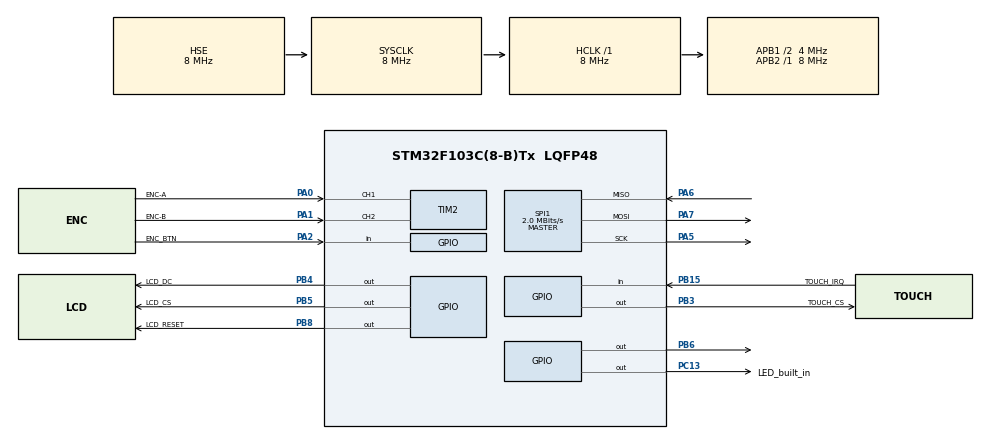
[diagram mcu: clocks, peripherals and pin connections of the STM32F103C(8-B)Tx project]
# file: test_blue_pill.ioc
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Mcu.Family=STM32F1
Mcu.Name=STM32F103C(8-B)Tx
Mcu.Package=LQFP48
NVIC.PriorityGroup=NVIC_PRIORITYGROUP_4
PA0-WKUP.GPIO_Label=ENC-A
PA0-WKUP.GPIO_PuPd=GPIO_PULLUP
PA0-WKUP.Signal=S_TIM2_CH1_ETR
PA1.GPIO_Label=ENC-B
PA1.GPIO_PuPd=GPIO_PULLUP
PA1.Signal=S_TIM2_CH2
PA2.GPIO_Label=ENC_BTN
PA2.GPIO_PuPd=GPIO_PULLUP
PA2.Signal=GPIO_Input
PA5.Mode=Full_Duplex_Master
PA5.Signal=SPI1_SCK
PA6.Mode=Full_Duplex_Master
PA6.Signal=SPI1_MISO
PA7.Mode=Full_Duplex_Master
PA7.Signal=SPI1_MOSI
PB15.GPIO_Label=TOUCH_IRQ
PB15.Signal=GPIO_Input
PB3.GPIO_Label=TOUCH_CS
PB3.Signal=GPIO_Output
PB4.GPIO_Label=LCD_DC
PB4.Signal=GPIO_Output
PB5.GPIO_Label=LCD_CS
PB5.Signal=GPIO_Output
PB6.Signal=GPIO_Output
PB8.GPIO_Label=LCD_RESET
PB8.Signal=GPIO_Output
PC13-TAMPER-RTC.GPIO_Label=LED_built_in
PC13-TAMPER-RTC.Signal=GPIO_Output
PD0-OSC_IN.Mode=HSE-External-Oscillator
PD0-OSC_IN.Signal=RCC_OSC_IN
PD1-OSC_OUT.Mode=HSE-External-Oscillator
PD1-OSC_OUT.Signal=RCC_OSC_OUT
ProjectManager.HeapSize=0x200
ProjectManager.StackSize=0x400
ProjectManager.TargetToolchain=STM32CubeIDE
RCC.AHBFreq_Value=8000000
RCC.APB1CLKDivider=RCC_HCLK_DIV2
RCC.APB1Freq_Value=4000000
RCC.APB1TimFreq_Value=8000000
RCC.APB2Freq_Value=8000000
RCC.APB2TimFreq_Value=8000000
RCC.HCLKFreq_Value=8000000
RCC.HSEDivPLL=RCC_HSE_PREDIV_DIV2
RCC.PLLMUL=RCC_PLL_MUL9
RCC.PLLSourceVirtual=RCC_PLLSOURCE_HSE
RCC.SYSCLKFreq_VALUE=8000000
RCC.SYSCLKSource=RCC_SYSCLKSOURCE_HSE
RCC.USBFreq_Value=36000000
SH.S_TIM2_CH1_ETR.0=TIM2_CH1,Encoder_Interface
SH.S_TIM2_CH2.0=TIM2_CH2,Encoder_Interface
SPI1.BaudRatePrescaler=SPI_BAUDRATEPRESCALER_4
SPI1.CLKPolarity=SPI_POLARITY_LOW
SPI1.CalculateBaudRate=2.0 MBits/s
SPI1.Direction=SPI_DIRECTION_2LINES
SPI1.FirstBit=SPI_FIRSTBIT_MSB
SPI1.Mode=SPI_MODE_MASTER
SPI1.VirtualType=VM_MASTER
TIM2.EncoderMode=TIM_ENCODERMODE_TI12
TIM2.IC1Filter=10
TIM2.IC1Polarity=TIM_ICPOLARITY_FALLING
TIM2.IC1Prescaler=TIM_ICPSC_DIV1
TIM2.IC2Filter=10
TIM2.IC2Polarity=TIM_ICPOLARITY_FALLING
TIM2.IC2Prescaler=TIM_ICPSC_DIV1
board=custom

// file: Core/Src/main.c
/* USER CODE BEGIN Header */
/**
  ******************************************************************************
  * @file           : main.c
  * @brief          : Main program body
  ******************************************************************************
  * @attention
  *
  * Copyright (c) 2024 STMicroelectronics.
  * All rights reserved.
  *
  * This software is licensed under terms that can be found in the LICENSE file
  * in the root directory of this software component.
  * If no LICENSE file comes with this software, it is provided AS-IS.
  *
  ******************************************************************************
  */
/* USER CODE END Header */
#include "main.h"

/* USER CODE BEGIN Includes */
#include "ili9341_touch.h"
#include "ili9341.h"

/* USER CODE END Includes */

/* USER CODE BEGIN PD */
#define BUILTIN_LED_PIN GPIO_PIN_13
#define BUILTIN_LED_PIN_PORT GPIOC
#define LCD_LED_PIN GPIO_PIN_6
#define LCD_LED_PIN_PORT GPIOB

/* USER CODE END PD */

SPI_HandleTypeDef hspi1;

TIM_HandleTypeDef htim2;

void SystemClock_Config(void);
static void MX_GPIO_Init(void);
static void MX_TIM2_Init(void);
static void MX_SPI1_Init(void);

/* USER CODE BEGIN 0 */
void loop() {

	ILI9341_TouchUnselect();
	HAL_GPIO_WritePin(ILI9341_CS_GPIO_Port, ILI9341_CS_Pin, GPIO_PIN_RESET);
	ILI9341_Init();
	HAL_GPIO_TogglePin(BUILTIN_LED_PIN_PORT, BUILTIN_LED_PIN);
	HAL_GPIO_TogglePin(LCD_LED_PIN_PORT, LCD_LED_PIN);
	ILI9341_FillRectangle(5, 5, 50, 50, ILI9341_GREEN);
	ILI9341_FillScreen(ILI9341_RED);
	HAL_Delay(100);

}

/* USER CODE END 0 */

int main(void)
{

  /* MCU Configuration--------------------------------------------------------*/

  /* Reset of all peripherals, Initializes the Flash interface and the Systick. */
  HAL_Init();

  /* USER CODE BEGIN Init */
  ILI9341_Init();

  /* USER CODE END Init */

  /* Configure the system clock */
  SystemClock_Config();

  /* Initialize all configured peripherals */
  MX_GPIO_Init();
  MX_TIM2_Init();
  MX_SPI1_Init();

  /* Infinite loop */
  /* USER CODE BEGIN WHILE */
  while (1)
  {
	  loop();
    /* USER CODE END WHILE */

  }
}

void SystemClock_Config(void)
{
  RCC_OscInitTypeDef RCC_OscInitStruct = {0};
  RCC_ClkInitTypeDef RCC_ClkInitStruct = {0};

  /** Initializes the RCC Oscillators according to the specified parameters
  * in the RCC_OscInitTypeDef structure.
  */
  RCC_OscInitStruct.OscillatorType = RCC_OSCILLATORTYPE_HSE;
  RCC_OscInitStruct.HSEState = RCC_HSE_ON;
  RCC_OscInitStruct.PLL.PLLState = RCC_PLL_NONE;
  if (HAL_RCC_OscConfig(&RCC_OscInitStruct) != HAL_OK)
  {
    Error_Handler();
  }

  /** Initializes the CPU, AHB and APB buses clocks
  */
  RCC_ClkInitStruct.ClockType = RCC_CLOCKTYPE_HCLK|RCC_CLOCKTYPE_SYSCLK
                              |RCC_CLOCKTYPE_PCLK1|RCC_CLOCKTYPE_PCLK2;
  RCC_ClkInitStruct.SYSCLKSource = RCC_SYSCLKSOURCE_HSE;
  RCC_ClkInitStruct.AHBCLKDivider = RCC_SYSCLK_DIV1;
  RCC_ClkInitStruct.APB1CLKDivider = RCC_HCLK_DIV2;
  RCC_ClkInitStruct.APB2CLKDivider = RCC_HCLK_DIV1;

  if (HAL_RCC_ClockConfig(&RCC_ClkInitStruct, FLASH_LATENCY_0) != HAL_OK)
  {
    Error_Handler();
  }
}

static void MX_SPI1_Init(void)
{

  /* SPI1 parameter configuration*/
  hspi1.Instance = SPI1;
  hspi1.Init.Mode = SPI_MODE_MASTER;
  hspi1.Init.Direction = SPI_DIRECTION_2LINES;
  hspi1.Init.DataSize = SPI_DATASIZE_8BIT;
  hspi1.Init.CLKPolarity = SPI_POLARITY_LOW;
  hspi1.Init.CLKPhase = SPI_PHASE_1EDGE;
  hspi1.Init.NSS = SPI_NSS_SOFT;
  hspi1.Init.BaudRatePrescaler = SPI_BAUDRATEPRESCALER_4;
  hspi1.Init.FirstBit = SPI_FIRSTBIT_MSB;
  hspi1.Init.TIMode = SPI_TIMODE_DISABLE;
  hspi1.Init.CRCCalculation = SPI_CRCCALCULATION_DISABLE;
  hspi1.Init.CRCPolynomial = 10;
  if (HAL_SPI_Init(&hspi1) != HAL_OK)
  {
    Error_Handler();
  }

}

static void MX_TIM2_Init(void)
{

  TIM_Encoder_InitTypeDef sConfig = {0};
  TIM_MasterConfigTypeDef sMasterConfig = {0};

  htim2.Instance = TIM2;
  htim2.Init.Prescaler = 0;
  htim2.Init.CounterMode = TIM_COUNTERMODE_UP;
  htim2.Init.Period = 65535;
  htim2.Init.ClockDivision = TIM_CLOCKDIVISION_DIV1;
  htim2.Init.AutoReloadPreload = TIM_AUTORELOAD_PRELOAD_DISABLE;
  sConfig.EncoderMode = TIM_ENCODERMODE_TI12;
  sConfig.IC1Polarity = TIM_ICPOLARITY_FALLING;
  sConfig.IC1Selection = TIM_ICSELECTION_DIRECTTI;
  sConfig.IC1Prescaler = TIM_ICPSC_DIV1;
  sConfig.IC1Filter = 10;
  sConfig.IC2Polarity = TIM_ICPOLARITY_FALLING;
  sConfig.IC2Selection = TIM_ICSELECTION_DIRECTTI;
  sConfig.IC2Prescaler = TIM_ICPSC_DIV1;
  sConfig.IC2Filter = 10;
  if (HAL_TIM_Encoder_Init(&htim2, &sConfig) != HAL_OK)
  {
    Error_Handler();
  }
  sMasterConfig.MasterOutputTrigger = TIM_TRGO_RESET;
  sMasterConfig.MasterSlaveMode = TIM_MASTERSLAVEMODE_DISABLE;
  if (HAL_TIMEx_MasterConfigSynchronization(&htim2, &sMasterConfig) != HAL_OK)
  {
    Error_Handler();
  }

}

static void MX_GPIO_Init(void)
{
  GPIO_InitTypeDef GPIO_InitStruct = {0};

  /* GPIO Ports Clock Enable */
  __HAL_RCC_GPIOC_CLK_ENABLE();
  __HAL_RCC_GPIOD_CLK_ENABLE();
  __HAL_RCC_GPIOA_CLK_ENABLE();
  __HAL_RCC_GPIOB_CLK_ENABLE();

  /*Configure GPIO pin Output Level */
  HAL_GPIO_WritePin(LED_built_in_GPIO_Port, LED_built_in_Pin, GPIO_PIN_RESET);

  /*Configure GPIO pin Output Level */
  HAL_GPIO_WritePin(GPIOB, TOUCH_CS_Pin|LCD_DC_Pin|LCD_CS_Pin|GPIO_PIN_6
                          |LCD_RESET_Pin, GPIO_PIN_RESET);

  /*Configure GPIO pin : LED_built_in_Pin */
  GPIO_InitStruct.Pin = LED_built_in_Pin;
  GPIO_InitStruct.Mode = GPIO_MODE_OUTPUT_PP;
  GPIO_InitStruct.Pull = GPIO_NOPULL;
  GPIO_InitStruct.Speed = GPIO_SPEED_FREQ_LOW;
  HAL_GPIO_Init(LED_built_in_GPIO_Port, &GPIO_InitStruct);

  /*Configure GPIO pin : ENC_BTN_Pin */
  GPIO_InitStruct.Pin = ENC_BTN_Pin;
  GPIO_InitStruct.Mode = GPIO_MODE_INPUT;
  GPIO_InitStruct.Pull = GPIO_PULLUP;
  HAL_GPIO_Init(ENC_BTN_GPIO_Port, &GPIO_InitStruct);

  /*Configure GPIO pin : TOUCH_IRQ_Pin */
  GPIO_InitStruct.Pin = TOUCH_IRQ_Pin;
  GPIO_InitStruct.Mode = GPIO_MODE_INPUT;
  GPIO_InitStruct.Pull = GPIO_NOPULL;
  HAL_GPIO_Init(TOUCH_IRQ_GPIO_Port, &GPIO_InitStruct);

  /*Configure GPIO pins : TOUCH_CS_Pin LCD_DC_Pin LCD_CS_Pin PB6
                           LCD_RESET_Pin */
  GPIO_InitStruct.Pin = TOUCH_CS_Pin|LCD_DC_Pin|LCD_CS_Pin|GPIO_PIN_6
                          |LCD_RESET_Pin;
  GPIO_InitStruct.Mode = GPIO_MODE_OUTPUT_PP;
  GPIO_InitStruct.Pull = GPIO_NOPULL;
  GPIO_InitStruct.Speed = GPIO_SPEED_FREQ_LOW;
  HAL_GPIO_Init(GPIOB, &GPIO_InitStruct);

}

void Error_Handler(void)
{
  __disable_irq();
  while (1)
  {
  }
}
